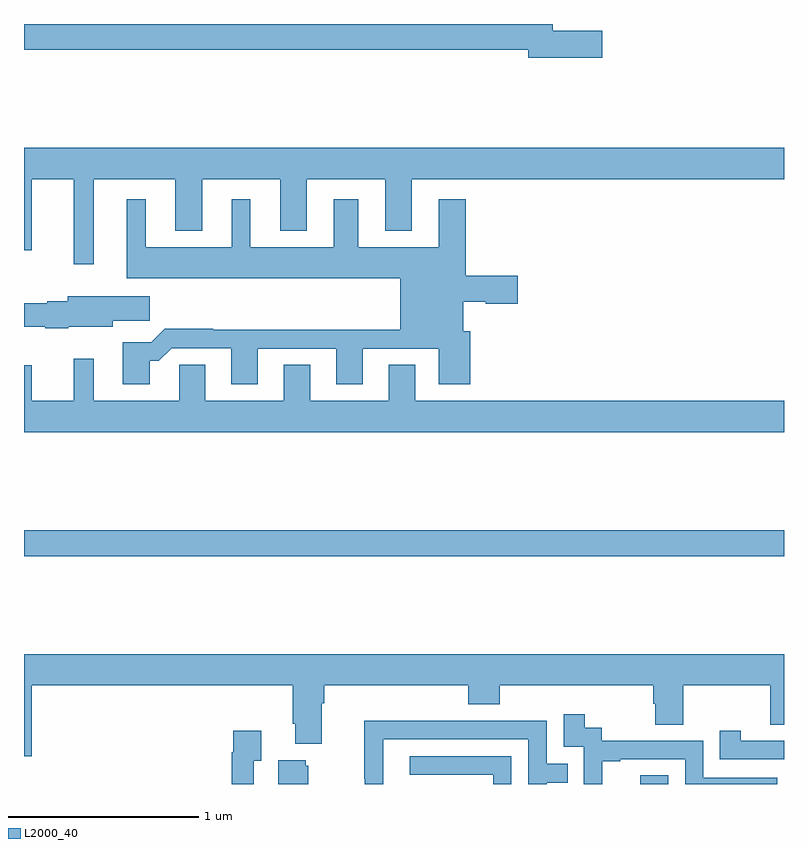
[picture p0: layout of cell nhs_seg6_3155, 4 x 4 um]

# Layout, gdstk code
import gdstk
lib = gdstk.Library(unit=1e-6, precision=1e-09)
def R(c, l, rs):  # rectangles x0, y0, x1, y1
    for r in rs: c.add(gdstk.rectangle(r[:2], r[2:], *l))
def P(c, l, *ps):  # polygons
    for p in ps: c.add(gdstk.Polygon(p, *l))
L2000_40 = (2000, 40)

nhs_seg6_3155 = lib.new_cell('nhs_seg6_3155')
R(nhs_seg6_3155, L2000_40, [(300.243,929.5,300.39,929.545), (297,930.7,301,930.836)])
P(nhs_seg6_3155, L2000_40, [(300.043,933.464),(299.782,933.464),(299.782,933.5),(297,933.5),(297,933.364),(299.654,933.364),(299.654,933.322),(300.043,933.322)],
  [(297.367,932.684),(297.797,932.684),(297.797,932.411),(297.937,932.411),(297.937,932.684),(298.349,932.684),(298.349,932.411),(298.489,932.411),(298.489,932.684),(298.901,932.684),(298.901,932.411),(299.041,932.411),(299.041,932.684),(301,932.684),(301,932.848),(297,932.848),(297,932.31),(297.04,932.31),(297.04,932.684),(297.263,932.684),(297.263,932.235),(297.367,932.235)],
  [(297.661,931.727),(297.71,931.727),(297.777,931.794),(298.091,931.794),(298.091,931.605),(298.231,931.605),(298.231,931.791),(298.643,931.791),(298.643,931.605),(298.783,931.605),(298.783,931.791),(299.183,931.791),(299.183,931.605),(299.348,931.605),(299.348,931.884),(299.311,931.884),(299.311,932.039),(299.431,932.039),(299.431,932.027),(299.599,932.027),(299.599,932.174),(299.324,932.174),(299.324,932.578),(299.183,932.578),(299.183,932.326),(298.759,932.326),(298.759,932.578),(298.631,932.578),(298.631,932.326),(298.192,932.326),(298.192,932.578),(298.094,932.578),(298.094,932.326),(297.64,932.326),(297.64,932.578),(297.542,932.578),(297.542,932.162),(298.979,932.162),(298.979,931.892),(297.995,931.892),(297.995,931.895),(297.74,931.895),(297.67,931.825),(297.521,931.825),(297.521,931.605),(297.661,931.605)],
  [(297.234,931.907),(297.466,931.907),(297.466,931.939),(297.661,931.939),(297.661,932.068),(297.23,932.068),(297.23,932.042),(297.123,932.042),(297.123,932.029),(297,932.029),(297,931.907),(297.112,931.907),(297.112,931.9),(297.234,931.9)],
  [(301,931.516),(299.059,931.516),(299.059,931.706),(298.919,931.706),(298.919,931.516),(298.507,931.516),(298.507,931.706),(298.367,931.706),(298.367,931.516),(297.955,931.516),(297.955,931.706),(297.816,931.706),(297.816,931.516),(297.367,931.516),(297.367,931.738),(297.263,931.738),(297.263,931.516),(297.04,931.516),(297.04,931.705),(297,931.705),(297,931.352),(301,931.352)],
  [(297.04,930.02),(298.415,930.02),(298.415,929.818),(298.427,929.818),(298.427,929.711),(298.567,929.711),(298.567,929.924),(298.58,929.924),(298.58,930.02),(299.339,930.02),(299.339,929.921),(299.504,929.921),(299.504,930.02),(300.311,930.02),(300.311,929.922),(300.323,929.922),(300.323,929.812),(300.471,929.812),(300.471,930.02),(300.928,930.02),(300.928,929.812),(301,929.812),(301,930.184),(297,930.184),(297,929.646),(297.04,929.646)],
  [(300.044,929.619),(300.139,929.619),(300.139,929.631),(300.48,929.631),(300.48,929.5),(300.965,929.5),(300.965,929.532),(300.576,929.532),(300.576,929.727),(300.042,929.727),(300.042,929.796),(299.95,929.796),(299.95,929.866),(299.841,929.866),(299.841,929.697),(299.946,929.697),(299.946,929.5),(300.044,929.5)],
  [(298.89,929.736),(299.655,929.736),(299.655,929.5),(299.751,929.5),(299.751,929.506),(299.861,929.506),(299.861,929.607),(299.751,929.607),(299.751,929.832),(299.255,929.832),(299.255,929.834),(298.792,929.834),(298.792,929.527),(298.794,929.527),(298.794,929.5),(298.89,929.5)],
  [(301,929.727),(300.772,929.727),(300.772,929.779),(300.661,929.779),(300.661,929.631),(301,929.631)],
  [(298.209,929.623),(298.249,929.623),(298.249,929.779),(298.101,929.779),(298.101,929.666),(298.093,929.666),(298.093,929.5),(298.209,929.5)],
  [(299.565,929.646),(299.031,929.646),(299.031,929.55),(299.469,929.55),(299.469,929.5),(299.565,929.5)],
  [(298.495,929.595),(298.484,929.595),(298.484,929.626),(298.337,929.626),(298.337,929.5),(298.495,929.5)])

lib.write_gds('nhs_seg6_3155.gds')
